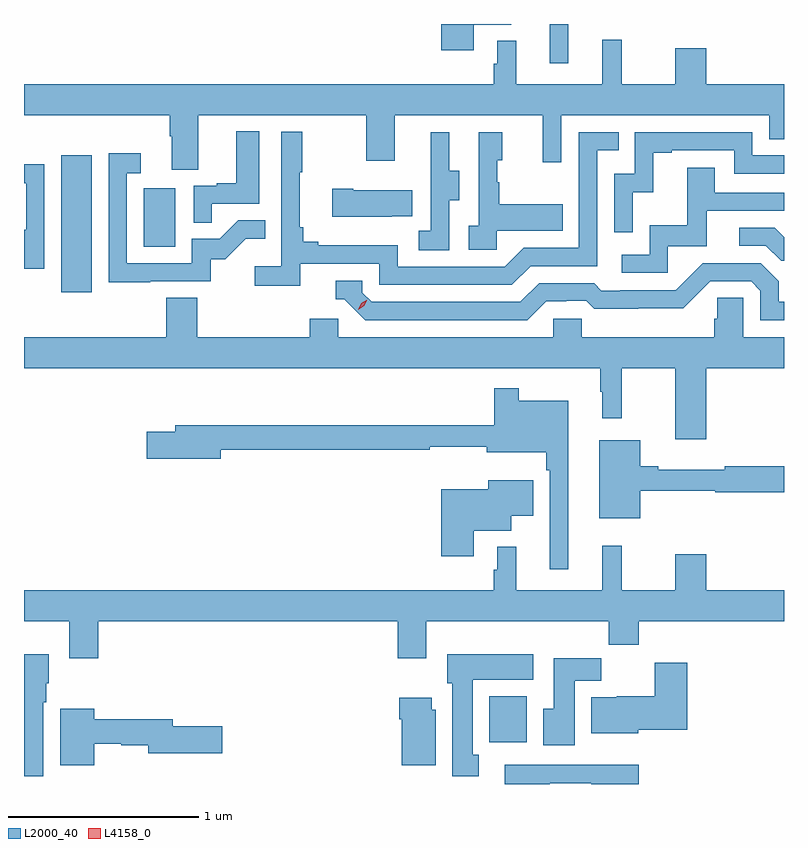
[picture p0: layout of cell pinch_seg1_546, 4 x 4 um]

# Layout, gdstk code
import gdstk
lib = gdstk.Library(unit=1e-6, precision=1e-09)
def R(c, l, rs):  # rectangles x0, y0, x1, y1
    for r in rs: c.add(gdstk.rectangle(r[:2], r[2:], *l))
def P(c, l, *ps):  # polygons
    for p in ps: c.add(gdstk.Polygon(p, *l))
L2000_40 = (2000, 40)
L4158_0 = (4158, 0)

pinch_seg1_546 = lib.new_cell('pinch_seg1_546')
R(pinch_seg1_546, L2000_40, [(1039.154,533.78,1039.351,534.022), (1036.901,536.148,1037.062,536.869), (1037.336,536.388,1037.5,536.695), (1039.473,537.354,1039.57,537.56)])
P(pinch_seg1_546, L2000_40, [(1039.072,537.557),(1039.27,537.557),(1039.27,537.56),(1038.902,537.56),(1038.902,537.423),(1039.072,537.423)],
  [(1037.623,537.08),(1038.507,537.08),(1038.507,536.841),(1038.655,536.841),(1038.655,537.08),(1039.436,537.08),(1039.436,536.832),(1039.533,536.832),(1039.533,537.08),(1040.628,537.08),(1040.628,536.953),(1040.705,536.953),(1040.705,537.244),(1040.296,537.244),(1040.296,537.433),(1040.132,537.433),(1040.132,537.244),(1039.85,537.244),(1039.85,537.478),(1039.748,537.478),(1039.748,537.244),(1039.295,537.244),(1039.295,537.472),(1039.197,537.472),(1039.197,537.351),(1039.177,537.351),(1039.177,537.244),(1036.705,537.244),(1036.705,537.08),(1037.471,537.08),(1037.471,536.968),(1037.483,536.968),(1037.483,536.794),(1037.623,536.794)],
  [(1037.693,536.613),(1037.944,536.613),(1037.944,536.995),(1037.822,536.995),(1037.822,536.722),(1037.719,536.722),(1037.719,536.709),(1037.598,536.709),(1037.598,536.515),(1037.693,536.515)],
  [(1038.158,536.298),(1038.576,536.298),(1038.576,536.187),(1039.273,536.187),(1039.372,536.286),(1039.722,536.286),(1039.722,536.895),(1039.835,536.895),(1039.835,536.991),(1039.626,536.991),(1039.626,536.382),(1039.335,536.382),(1039.236,536.283),(1038.672,536.283),(1038.672,536.395),(1038.253,536.395),(1038.253,536.414),(1038.176,536.414),(1038.176,536.491),(1038.157,536.491),(1038.157,536.779),(1038.169,536.779),(1038.169,536.992),(1038.06,536.992),(1038.06,536.284),(1037.919,536.284),(1037.919,536.182),(1038.158,536.182)],
  [(1039.908,536.675),(1040.018,536.675),(1040.018,536.883),(1040.113,536.883),(1040.113,536.895),(1040.442,536.895),(1040.442,536.772),(1040.705,536.772),(1040.705,536.868),(1040.538,536.868),(1040.538,536.991),(1039.92,536.991),(1039.92,536.772),(1039.812,536.772),(1039.812,536.463),(1039.908,536.463)],
  [(1038.942,536.632),(1038.997,536.632),(1038.997,536.787),(1038.943,536.787),(1038.943,536.989),(1038.845,536.989),(1038.845,536.775),(1038.846,536.775),(1038.846,536.471),(1038.783,536.471),(1038.783,536.368),(1038.942,536.368)],
  [(1039.194,536.471),(1039.541,536.471),(1039.541,536.611),(1039.207,536.611),(1039.207,536.726),(1039.197,536.726),(1039.197,536.844),(1039.222,536.844),(1039.222,536.989),(1039.098,536.989),(1039.098,536.498),(1039.047,536.498),(1039.047,536.373),(1039.194,536.373)],
  [(1037.369,536.205),(1037.688,536.205),(1037.688,536.322),(1037.764,536.322),(1037.871,536.429),(1037.975,536.429),(1037.975,536.528),(1037.832,536.528),(1037.734,536.43),(1037.589,536.43),(1037.589,536.301),(1037.247,536.301),(1037.247,536.775),(1037.32,536.775),(1037.32,536.881),(1037.151,536.881),(1037.151,536.2),(1037.369,536.2)],
  [(1036.812,536.822),(1036.705,536.822),(1036.705,536.721),(1036.716,536.721),(1036.716,536.476),(1036.705,536.476),(1036.705,536.271),(1036.812,536.271)],
  [(1040.094,536.391),(1040.299,536.391),(1040.299,536.577),(1040.705,536.577),(1040.705,536.673),(1040.341,536.673),(1040.341,536.803),(1040.197,536.803),(1040.197,536.5),(1039.998,536.5),(1039.998,536.346),(1039.851,536.346),(1039.851,536.25),(1040.094,536.25)],
  [(1038.641,536.549),(1038.749,536.549),(1038.749,536.686),(1038.439,536.686),(1038.439,536.694),(1038.327,536.694),(1038.327,536.546),(1038.641,536.546)],
  [(1040.705,536.438),(1040.656,536.487),(1040.469,536.487),(1040.469,536.394),(1040.61,536.394),(1040.69,536.314),(1040.705,536.314)],
  [(1039.453,536.1),(1039.56,536.1),(1039.56,536.103),(1039.663,536.103),(1039.705,536.061),(1039.938,536.061),(1039.938,536.063),(1040.174,536.063),(1040.316,536.205),(1040.532,536.205),(1040.58,536.157),(1040.58,536.001),(1040.705,536.001),(1040.705,536.097),(1040.677,536.097),(1040.677,536.207),(1040.583,536.301),(1040.277,536.301),(1040.136,536.16),(1039.843,536.16),(1039.843,536.157),(1039.744,536.157),(1039.705,536.196),(1039.416,536.196),(1039.317,536.097),(1038.534,536.097),(1038.486,536.145),(1038.486,536.208),(1038.347,536.208),(1038.347,536.112),(1038.39,536.112),(1038.501,536.001),(1039.354,536.001)],
  [(1037.453,536.12),(1037.453,535.912),(1036.705,535.912),(1036.705,535.748),(1039.737,535.748),(1039.737,535.625),(1039.748,535.625),(1039.748,535.485),(1039.85,535.485),(1039.85,535.748),(1040.132,535.748),(1040.132,535.374),(1040.296,535.374),(1040.296,535.748),(1040.705,535.748),(1040.705,535.912),(1040.49,535.912),(1040.49,536.12),(1040.353,536.12),(1040.353,536.01),(1040.339,536.01),(1040.339,535.912),(1039.641,535.912),(1039.641,536.01),(1039.491,536.01),(1039.491,535.912),(1038.36,535.912),(1038.36,536.01),(1038.209,536.01),(1038.209,535.912),(1037.618,535.912),(1037.618,536.12)],
  [(1039.57,535.576),(1039.309,535.576),(1039.309,535.642),(1039.18,535.642),(1039.18,535.447),(1037.501,535.447),(1037.501,535.413),(1037.352,535.413),(1037.352,535.271),(1037.74,535.271),(1037.74,535.318),(1038.84,535.318),(1038.84,535.336),(1039.14,535.336),(1039.14,535.307),(1039.453,535.307),(1039.453,535.211),(1039.473,535.211),(1039.473,534.69),(1039.57,534.69)],
  [(1039.948,535.104),(1040.344,535.104),(1040.344,535.096),(1040.705,535.096),(1040.705,535.232),(1040.392,535.232),(1040.392,535.213),(1040.044,535.213),(1040.044,535.232),(1039.948,535.232),(1039.948,535.369),(1039.733,535.369),(1039.733,534.959),(1039.948,534.959)],
  [(1039.072,534.893),(1039.27,534.893),(1039.27,534.971),(1039.384,534.971),(1039.384,535.159),(1039.148,535.159),(1039.148,535.111),(1038.902,535.111),(1038.902,534.759),(1039.072,534.759)],
  [(1037.096,534.416),(1038.671,534.416),(1038.671,534.222),(1038.823,534.222),(1038.823,534.416),(1039.783,534.416),(1039.783,534.292),(1039.94,534.292),(1039.94,534.416),(1040.705,534.416),(1040.705,534.58),(1040.296,534.58),(1040.296,534.769),(1040.132,534.769),(1040.132,534.58),(1039.85,534.58),(1039.85,534.814),(1039.748,534.814),(1039.748,534.58),(1039.295,534.58),(1039.295,534.808),(1039.197,534.808),(1039.197,534.687),(1039.177,534.687),(1039.177,534.58),(1036.705,534.58),(1036.705,534.416),(1036.943,534.416),(1036.943,534.222),(1037.096,534.222)],
  [(1036.807,533.99),(1036.822,533.99),(1036.822,534.09),(1036.834,534.09),(1036.834,534.244),(1036.705,534.244),(1036.705,533.601),(1036.807,533.601)],
  [(1039.099,533.714),(1039.066,533.714),(1039.066,534.11),(1039.384,534.11),(1039.384,534.244),(1038.932,534.244),(1038.932,534.09),(1038.959,534.09),(1038.959,533.601),(1039.099,533.601)],
  [(1039.603,534.104),(1039.742,534.104),(1039.742,534.223),(1039.493,534.223),(1039.493,533.956),(1039.439,533.956),(1039.439,533.763),(1039.603,533.763)],
  [(1039.938,533.846),(1040.195,533.846),(1040.195,534.199),(1040.024,534.199),(1040.024,534.022),(1039.824,534.022),(1039.824,534.016),(1039.691,534.016),(1039.691,533.828),(1039.938,533.828)],
  [(1038.871,533.952),(1038.85,533.952),(1038.85,534.013),(1038.68,534.013),(1038.68,533.9),(1038.692,533.9),(1038.692,533.66),(1038.871,533.66)],
  [(1037.074,533.772),(1037.217,533.772),(1037.217,533.764),(1037.36,533.764),(1037.36,533.722),(1037.749,533.722),(1037.749,533.864),(1037.488,533.864),(1037.488,533.9),(1037.074,533.9),(1037.074,533.956),(1036.895,533.956),(1036.895,533.66),(1037.074,533.66)],
  [(1039.471,533.565),(1039.691,533.565),(1039.691,533.56),(1039.94,533.56),(1039.94,533.662),(1039.699,533.662),(1039.699,533.661),(1039.235,533.661),(1039.235,533.56),(1039.471,533.56)])
P(pinch_seg1_546, L4158_0, [(1038.465,536.057),(1038.465,536.057),(1038.481,536.09),(1038.511,536.11),(1038.511,536.11),(1038.511,536.11),(1038.496,536.077),(1038.465,536.057)])

lib.write_gds('pinch_seg1_546.gds')
